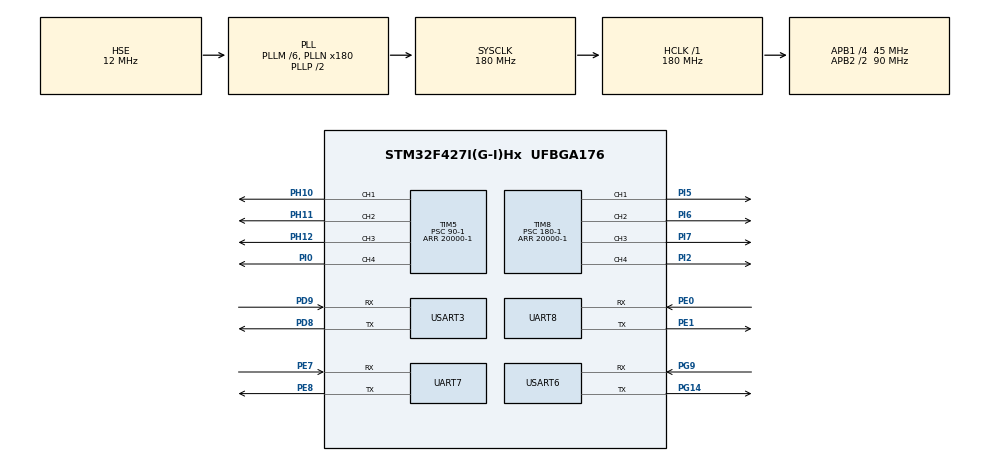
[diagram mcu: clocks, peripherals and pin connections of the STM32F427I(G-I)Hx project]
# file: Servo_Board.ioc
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Dma.Request0=UART8_RX
Dma.Request1=UART7_RX
Dma.Request2=USART6_RX
Dma.UART7_RX.1.Direction=DMA_PERIPH_TO_MEMORY
Dma.UART7_RX.1.FIFOMode=DMA_FIFOMODE_DISABLE
Dma.UART7_RX.1.Instance=DMA1_Stream3
Dma.UART7_RX.1.MemDataAlignment=DMA_MDATAALIGN_BYTE
Dma.UART7_RX.1.MemInc=DMA_MINC_ENABLE
Dma.UART7_RX.1.Mode=DMA_CIRCULAR
Dma.UART7_RX.1.PeriphDataAlignment=DMA_PDATAALIGN_BYTE
Dma.UART7_RX.1.PeriphInc=DMA_PINC_DISABLE
Dma.UART7_RX.1.Priority=DMA_PRIORITY_LOW
Dma.UART8_RX.0.Direction=DMA_PERIPH_TO_MEMORY
Dma.UART8_RX.0.FIFOMode=DMA_FIFOMODE_DISABLE
Dma.UART8_RX.0.Instance=DMA1_Stream6
Dma.UART8_RX.0.MemDataAlignment=DMA_MDATAALIGN_BYTE
Dma.UART8_RX.0.MemInc=DMA_MINC_ENABLE
Dma.UART8_RX.0.Mode=DMA_CIRCULAR
Dma.UART8_RX.0.PeriphDataAlignment=DMA_PDATAALIGN_BYTE
Dma.UART8_RX.0.PeriphInc=DMA_PINC_DISABLE
Dma.UART8_RX.0.Priority=DMA_PRIORITY_HIGH
Dma.USART6_RX.2.Direction=DMA_PERIPH_TO_MEMORY
Dma.USART6_RX.2.FIFOMode=DMA_FIFOMODE_DISABLE
Dma.USART6_RX.2.Instance=DMA2_Stream1
Dma.USART6_RX.2.MemDataAlignment=DMA_MDATAALIGN_BYTE
Dma.USART6_RX.2.MemInc=DMA_MINC_ENABLE
Dma.USART6_RX.2.Mode=DMA_CIRCULAR
Dma.USART6_RX.2.PeriphDataAlignment=DMA_PDATAALIGN_BYTE
Dma.USART6_RX.2.PeriphInc=DMA_PINC_DISABLE
Dma.USART6_RX.2.Priority=DMA_PRIORITY_LOW
FREERTOS.Tasks01=defaultTask,24,128,StartDefaultTask,Default,NULL,Dynamic,NULL,NULL
Mcu.Family=STM32F4
Mcu.Name=STM32F427I(G-I)Hx
Mcu.Package=UFBGA176
NVIC.DMA1_Stream3_IRQn=true\:5\:0\:false\:false\:true\:true\:false\:true\:true
NVIC.DMA1_Stream6_IRQn=true\:5\:0\:false\:false\:true\:true\:false\:true\:true
NVIC.DMA2_Stream1_IRQn=true\:5\:0\:false\:false\:true\:true\:false\:true\:true
NVIC.PriorityGroup=NVIC_PRIORITYGROUP_4
NVIC.TIM1_UP_TIM10_IRQn=true\:15\:0\:false\:false\:true\:false\:false\:true\:true
NVIC.TimeBase=TIM1_UP_TIM10_IRQn
NVIC.TimeBaseIP=TIM1
NVIC.UART8_IRQn=true\:5\:0\:false\:false\:true\:true\:true\:true\:true
NVIC.USART6_IRQn=true\:5\:0\:false\:false\:true\:true\:true\:true\:true
PA13.Mode=Serial_Wire
PA13.Signal=SYS_JTMS-SWDIO
PA14.Mode=Serial_Wire
PA14.Signal=SYS_JTCK-SWCLK
PD8.Mode=Asynchronous
PD8.Signal=USART3_TX
PD9.Mode=Asynchronous
PD9.Signal=USART3_RX
PE0.Mode=Asynchronous
PE0.Signal=UART8_RX
PE1.Mode=Asynchronous
PE1.Signal=UART8_TX
PE7.Mode=Asynchronous
PE7.Signal=UART7_RX
PE8.Mode=Asynchronous
PE8.Signal=UART7_TX
PG14.Mode=Asynchronous
PG14.Signal=USART6_TX
PG9.Mode=Asynchronous
PG9.Signal=USART6_RX
PH0/OSC_IN.Mode=HSE-External-Oscillator
PH0/OSC_IN.Signal=RCC_OSC_IN
PH1/OSC_OUT.Mode=HSE-External-Oscillator
PH1/OSC_OUT.Signal=RCC_OSC_OUT
PH10.Signal=S_TIM5_CH1
PH11.Signal=S_TIM5_CH2
PH12.Signal=S_TIM5_CH3
PI0.Signal=S_TIM5_CH4
PI2.Signal=S_TIM8_CH4
PI5.Signal=S_TIM8_CH1
PI6.Signal=S_TIM8_CH2
PI7.Signal=S_TIM8_CH3
ProjectManager.HeapSize=0x200
ProjectManager.StackSize=0x400
ProjectManager.TargetToolchain=Makefile
RCC.48MHZClocksFreq_Value=90000000
RCC.AHBFreq_Value=180000000
RCC.APB1CLKDivider=RCC_HCLK_DIV4
RCC.APB1Freq_Value=45000000
RCC.APB1TimFreq_Value=90000000
RCC.APB2CLKDivider=RCC_HCLK_DIV2
RCC.APB2Freq_Value=90000000
RCC.APB2TimFreq_Value=180000000
RCC.CortexFreq_Value=180000000
RCC.HCLKFreq_Value=180000000
RCC.HSE_VALUE=12000000
RCC.HSI_VALUE=16000000
RCC.LSE_VALUE=32768
RCC.PLLM=6
RCC.PLLN=180
RCC.PLLSourceVirtual=RCC_PLLSOURCE_HSE
RCC.SYSCLKFreq_VALUE=180000000
RCC.SYSCLKSource=RCC_SYSCLKSOURCE_PLLCLK
RCC.VCOOutputFreq_Value=360000000
SH.S_TIM5_CH1.0=TIM5_CH1,PWM Generation1 CH1
SH.S_TIM5_CH2.0=TIM5_CH2,PWM Generation2 CH2
SH.S_TIM5_CH3.0=TIM5_CH3,PWM Generation3 CH3
SH.S_TIM5_CH4.0=TIM5_CH4,PWM Generation4 CH4
SH.S_TIM8_CH1.0=TIM8_CH1,PWM Generation1 CH1
SH.S_TIM8_CH2.0=TIM8_CH2,PWM Generation2 CH2
SH.S_TIM8_CH3.0=TIM8_CH3,PWM Generation3 CH3
SH.S_TIM8_CH4.0=TIM8_CH4,PWM Generation4 CH4
TIM5.Channel-PWM\ Generation1\ CH1=TIM_CHANNEL_1
TIM5.Channel-PWM\ Generation2\ CH2=TIM_CHANNEL_2
TIM5.Channel-PWM\ Generation3\ CH3=TIM_CHANNEL_3
TIM5.Channel-PWM\ Generation4\ CH4=TIM_CHANNEL_4
TIM5.Period=20000-1
TIM5.Prescaler=90-1
TIM8.Channel-PWM\ Generation1\ CH1=TIM_CHANNEL_1
TIM8.Channel-PWM\ Generation2\ CH2=TIM_CHANNEL_2
TIM8.Channel-PWM\ Generation3\ CH3=TIM_CHANNEL_3
TIM8.Channel-PWM\ Generation4\ CH4=TIM_CHANNEL_4
TIM8.Period=20000-1
TIM8.Prescaler=180-1
UART7.VirtualMode=Asynchronous
UART8.VirtualMode=Asynchronous
USART3.VirtualMode=VM_ASYNC
USART6.VirtualMode=VM_ASYNC
VP_FREERTOS_VS_CMSIS_V2.Mode=CMSIS_V2
VP_SYS_VS_tim1.Mode=TIM1
VP_TIM5_VS_ClockSourceINT.Mode=Internal
VP_TIM8_VS_ClockSourceINT.Mode=Internal
board=custom

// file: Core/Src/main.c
/* USER CODE BEGIN Header */
/**
 ******************************************************************************
 * @file           : main.c
 * @brief          : Main program body
 ******************************************************************************
 * @attention
 *
 * Copyright (c) 2024 STMicroelectronics.
 * All rights reserved.
 *
 * This software is licensed under terms that can be found in the LICENSE file
 * in the root directory of this software component.
 * If no LICENSE file comes with this software, it is provided AS-IS.
 *
 ******************************************************************************
 */
/* USER CODE END Header */
#include "main.h"
#include "cmsis_os.h"
#include "dma.h"
#include "tim.h"
#include "usart.h"
#include "gpio.h"

void SystemClock_Config(void);
void MX_FREERTOS_Init(void);

int main(void)
{

  /* MCU Configuration--------------------------------------------------------*/

  /* Reset of all peripherals, Initializes the Flash interface and the Systick. */
  HAL_Init();

  /* Configure the system clock */
  SystemClock_Config();

  /* Initialize all configured peripherals */
  MX_GPIO_Init();
  MX_DMA_Init();
  MX_UART8_Init();
  MX_TIM5_Init();
  MX_TIM8_Init();
  MX_USART6_UART_Init();
  MX_UART7_Init();
  MX_USART3_UART_Init();

  /* Init scheduler */
  osKernelInitialize();

  /* Call init function for freertos objects (in cmsis_os2.c) */
  MX_FREERTOS_Init();

  /* Start scheduler */
  osKernelStart();

  /* We should never get here as control is now taken by the scheduler */

  /* Infinite loop */
    while (1) {

    }
}

void SystemClock_Config(void)
{
  RCC_OscInitTypeDef RCC_OscInitStruct = {0};
  RCC_ClkInitTypeDef RCC_ClkInitStruct = {0};

  /** Configure the main internal regulator output voltage
  */
  __HAL_RCC_PWR_CLK_ENABLE();
  __HAL_PWR_VOLTAGESCALING_CONFIG(PWR_REGULATOR_VOLTAGE_SCALE1);

  /** Initializes the RCC Oscillators according to the specified parameters
  * in the RCC_OscInitTypeDef structure.
  */
  RCC_OscInitStruct.OscillatorType = RCC_OSCILLATORTYPE_HSE;
  RCC_OscInitStruct.HSEState = RCC_HSE_ON;
  RCC_OscInitStruct.PLL.PLLState = RCC_PLL_ON;
  RCC_OscInitStruct.PLL.PLLSource = RCC_PLLSOURCE_HSE;
  RCC_OscInitStruct.PLL.PLLM = 6;
  RCC_OscInitStruct.PLL.PLLN = 180;
  RCC_OscInitStruct.PLL.PLLP = RCC_PLLP_DIV2;
  RCC_OscInitStruct.PLL.PLLQ = 4;
  if (HAL_RCC_OscConfig(&RCC_OscInitStruct) != HAL_OK)
  {
    Error_Handler();
  }

  /** Activate the Over-Drive mode
  */
  if (HAL_PWREx_EnableOverDrive() != HAL_OK)
  {
    Error_Handler();
  }

  /** Initializes the CPU, AHB and APB buses clocks
  */
  RCC_ClkInitStruct.ClockType = RCC_CLOCKTYPE_HCLK|RCC_CLOCKTYPE_SYSCLK
                              |RCC_CLOCKTYPE_PCLK1|RCC_CLOCKTYPE_PCLK2;
  RCC_ClkInitStruct.SYSCLKSource = RCC_SYSCLKSOURCE_PLLCLK;
  RCC_ClkInitStruct.AHBCLKDivider = RCC_SYSCLK_DIV1;
  RCC_ClkInitStruct.APB1CLKDivider = RCC_HCLK_DIV4;
  RCC_ClkInitStruct.APB2CLKDivider = RCC_HCLK_DIV2;

  if (HAL_RCC_ClockConfig(&RCC_ClkInitStruct, FLASH_LATENCY_5) != HAL_OK)
  {
    Error_Handler();
  }
}

void HAL_TIM_PeriodElapsedCallback(TIM_HandleTypeDef *htim)
{
  if (htim->Instance == TIM1) {
    HAL_IncTick();
  }
}

void Error_Handler(void)
{
    __disable_irq();
    while (1) {
    }
}

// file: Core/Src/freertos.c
/* USER CODE BEGIN Header */
/**
 ******************************************************************************
 * File Name          : freertos.c
 * Description        : Code for freertos applications
 ******************************************************************************
 * @attention
 *
 * Copyright (c) 2024 STMicroelectronics.
 * All rights reserved.
 *
 * This software is licensed under terms that can be found in the LICENSE file
 * in the root directory of this software component.
 * If no LICENSE file comes with this software, it is provided AS-IS.
 *
 ******************************************************************************
 */
/* USER CODE END Header */

#include "FreeRTOS.h"
#include "task.h"
#include "main.h"
#include "cmsis_os.h"

/* USER CODE BEGIN Includes */
#include "tim.h"
#include "usart.h"
/* USER CODE END Includes */

/* USER CODE BEGIN Variables */
uint8_t board_rev_buffer[7];
uint8_t laserx_rev_buffer[11];
uint8_t lasery_rev_buffer[11];

uint8_t laser_y_buffer[5];
uint8_t laser_x_buffer[5];

uint8_t x_flag = 0;
uint8_t y_flag = 0;

char laser_msg[5]          = "iFACM";
uint8_t laser_send_msg[12] = {0};

/* USER CODE END Variables */
/* Definitions for defaultTask */
osThreadId_t defaultTaskHandle;
const osThreadAttr_t defaultTask_attributes = {
    .name       = "defaultTask",
    .stack_size = 128 * 4,
    .priority   = (osPriority_t)osPriorityNormal,
};

/* USER CODE BEGIN FunctionPrototypes */
osThreadId_t laserTaskHandle;
const osThreadAttr_t laserTask_attributes = {
    .name       = "laserTask",
    .stack_size = 128 * 4,
    .priority   = (osPriority_t)osPriorityNormal,
};
void LaserTask(void *argument);
/* USER CODE END FunctionPrototypes */

void StartDefaultTask(void *argument);

void MX_FREERTOS_Init(void); /* (MISRA C 2004 rule 8.1) */

void MX_FREERTOS_Init(void)
{

    /* Create the thread(s) */
    /* creation of defaultTask */
    defaultTaskHandle = osThreadNew(StartDefaultTask, NULL, &defaultTask_attributes);

}

void StartDefaultTask(void *argument)
{
    /* USER CODE BEGIN StartDefaultTask */
    osDelay(3000);
    HAL_UART_Transmit(&huart6, (uint8_t *)laser_msg, 5, 0xFF);
    HAL_UART_Transmit(&huart7, (uint8_t *)laser_msg, 5, 0xFF);

    HAL_UART_Receive_DMA(&huart7, laserx_rev_buffer, 11);
    __HAL_UART_ENABLE_IT(&huart7, UART_IT_IDLE);
    HAL_UART_Receive_DMA(&huart6, lasery_rev_buffer, 11);
    __HAL_UART_ENABLE_IT(&huart6, UART_IT_IDLE);

    laserTaskHandle = osThreadNew(LaserTask, NULL, &laserTask_attributes);
    /* Infinite loop */
    for (;;) {
        osDelay(1);
    }
    /* USER CODE END StartDefaultTask */
}

/* USER CODE BEGIN Application */

void LaserTask(void *argument)
{
    for (;;) {
        laser_send_msg[0]  = 0xCC;
        laser_send_msg[11] = 0xDD;
        if (x_flag == 1) {
            laser_send_msg[1] = laser_x_buffer[0];
            laser_send_msg[2] = laser_x_buffer[1];
            laser_send_msg[3] = laser_x_buffer[2];
            laser_send_msg[4] = laser_x_buffer[3];
            laser_send_msg[5] = laser_x_buffer[4];
            x_flag            = 0;
        }
        if (y_flag == 1) {
            laser_send_msg[6]  = laser_y_buffer[0];
            laser_send_msg[7]  = laser_y_buffer[1];
            laser_send_msg[8]  = laser_y_buffer[2];
            laser_send_msg[9]  = laser_y_buffer[3];
            laser_send_msg[10] = laser_y_buffer[4];
            y_flag             = 0;
        }
        HAL_UART_Transmit(&huart3, laser_send_msg, 12, 0xFF);
        osDelay(1);
    }
}

void HAL_UART_RxCpltCallback(UART_HandleTypeDef *huart)
{
    if (huart->Instance == UART7) {
        if (laserx_rev_buffer[0] == 0x44 && laserx_rev_buffer[1] == 0x3D && laserx_rev_buffer[7] == 0x6D && laserx_rev_buffer[8] == 0x0D && laserx_rev_buffer[9] == 0x0A) {
            laser_x_buffer[0] = laserx_rev_buffer[2];
            laser_x_buffer[1] = laserx_rev_buffer[3];
            laser_x_buffer[2] = laserx_rev_buffer[4];
            laser_x_buffer[3] = laserx_rev_buffer[5];
            laser_x_buffer[4] = laserx_rev_buffer[6];
            x_flag            = 1;
        } else {
            for (int i = 0; i < 11; i++) {
                laserx_rev_buffer[i] = 0;
            }
        }
    } else if (huart->Instance == USART6) {
        if (lasery_rev_buffer[0] == 0x44 && lasery_rev_buffer[1] == 0x3D && lasery_rev_buffer[7] == 0x6D && lasery_rev_buffer[8] == 0x0D && lasery_rev_buffer[9] == 0x0A) {
            laser_y_buffer[0] = lasery_rev_buffer[2];
            laser_y_buffer[1] = lasery_rev_buffer[3];
            laser_y_buffer[2] = lasery_rev_buffer[4];
            laser_y_buffer[3] = lasery_rev_buffer[5];
            laser_y_buffer[4] = lasery_rev_buffer[6];
            y_flag            = 1;
        } else {
            for (int i = 0; i < 11; i++) {
                lasery_rev_buffer[i] = 0;
            }
        }
    }
}
/* USER CODE END Application */
